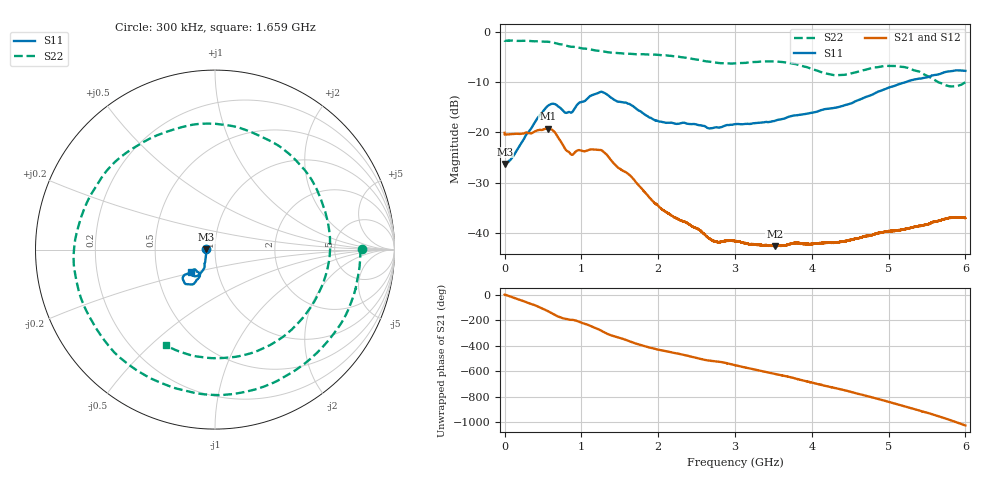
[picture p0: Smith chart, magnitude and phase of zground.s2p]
!  7/30/2020  14:15:12
! Ref Plane: 0.000 mm
# MHZ S MA R  50
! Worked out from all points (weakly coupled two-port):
!   10001 points, 300 kHz to 6 GHz, reference 50 ohm
!   highest |S21| = -19.27 dB at 563.1 MHz (marker M1); lowest = -42.6 dB at 3.517 GHz (marker M2)
!   lowest |S11| = -26.3 dB at 900 kHz (marker M3), VSWR 1.10, Z = 45.4 + j0.0975 ohm
!   |S11| at or under -10 dB: start of sweep to 5.23 GHz
!   |S22| runs from -10.9 to -1.8 dB; largest |S21 - S12| = 0.0025
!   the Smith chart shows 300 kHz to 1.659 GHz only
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0.3  0.04899 177.6  0.09883 -1.1  0.0965 -0.6  0.8164 0.1
0.9  0.04832 178.7  0.09485 -0.4  0.09531 -0.2  0.811 -0.2
289.4855  0.09708 -127.2  0.09956 -62.3  0.09973 -62.4  0.8109 -85.4
563.0719  0.1832 -125.8  0.1088 -129.8  0.1089 -129.8  0.7922 -165.3
792.2604  0.1563 -134.5  0.06777 169.3  0.06785 169.3  0.7263 129.0
1000.45  0.1993 -121.3  0.06565 139.2  0.0656 139.3  0.6833 71.2
1254.237  0.2525 -131.0  0.06664 78.2  0.0667 78.3  0.6408 -1.8
1534.423  0.1985 -136.3  0.04176 13.7  0.04175 13.7  0.6065 -81.8
1789.41  0.1573 -135.0  0.0274 -38.5  0.02744 -38.6  0.5966 -153.1
2000.6  0.129 -124.8  0.0186 -71.8  0.01861 -71.8  0.5866 150.2
2252.587  0.1215 -106.1  0.01386 -102.1  0.01383 -102.2  0.5656 84.0
2532.773  0.1176 -92.1  0.01078 -141.3  0.0108 -141.3  0.5242 7.9
2786.561  0.1115 -72.8  0.008113 -166.1  0.008121 -166.0  0.4878 -65.3
3000.15  0.1203 -62.6  0.008316 166.9  0.008316 166.9  0.4832 -128.2
3234.738  0.1226 -51.0  0.007738 135.7  0.007749 135.9  0.4977 167.1
3516.724  0.1298 -36.0  0.007399 97.8  0.007472 98.2  0.5047 95.2
4000.3  0.1561 -14.2  0.007818 30.9  0.007764 31.0  0.426 -28.2
4234.288  0.172 -5.1  0.00808 -2.8  0.007983 -2.9  0.3768 -98.7
4500.675  0.1925 6.5  0.008498 -41.1  0.008538 -41.4  0.3819 176.8
5000.45  0.2775 18.7  0.01043 -119.9  0.0104 -120.0  0.456 47.8
5518.824  0.3538 15.8  0.01226 152.1  0.01226 152.0  0.3585 -77.2
6000  0.4075 3.5  0.01409 55.1  0.01419 55.2  0.313 123.8
